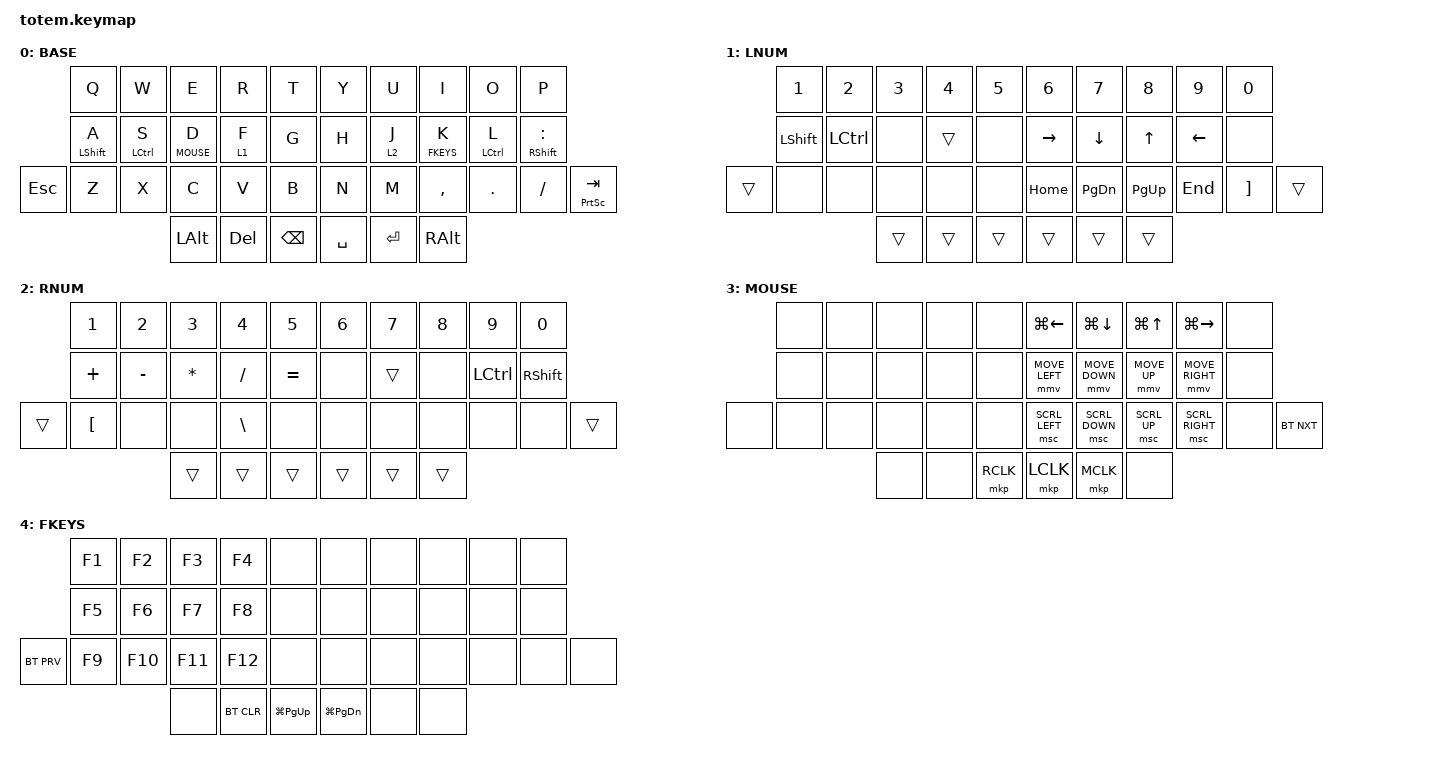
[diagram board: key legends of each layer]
#define ZMK_POINTING_DEFAULT_MOVE_VAL 1000

#include <behaviors.dtsi>
#include <dt-bindings/zmk/bt.h>
#include <dt-bindings/zmk/keys.h>
#include <dt-bindings/zmk/pointing.h>

#define BASE  0
#define LNUM  1
#define RNUM  2
#define MOUSE 3
#define FKEYS 4

&mt {
    quick-tap-ms = <100>;
    global-quick-tap;
    flavor = "tap-preferred";
    tapping-term-ms = <200>;
};

&mmv {
    x-input-code = <INPUT_REL_X>;
    y-input-code = <INPUT_REL_Y>;
    time-to-max-speed-ms = <500>;
    acceleration-exponent = <1>;
};

&msc {
    x-input-code = <INPUT_REL_HWHEEL>;
    y-input-code = <INPUT_REL_WHEEL>;
    time-to-max-speed-ms = <300>;
    acceleration-exponent = <0>;
};

/ {
    keymap {
        compatible = "zmk,keymap";

        base_layer {
            label = "BASE";

            //                     ┏━━━━━━━━━━━━━┳━━━━━━━━━━━━━┳━━━━━━━━━━━━━┳━━━━━━━━━━━━━┳━━━━━━━━━━━━━┓   ┏━━━━━━━━━━━━━┳━━━━━━━━━━━━━┳━━━━━━━━━━━━━┳━━━━━━━━━━━━━┳━━━━━━━━━━━━━┓
            //                     ┃      Q      ┃      W      ┃      E      ┃      R      ┃      T      ┃   ┃      Y      ┃      U      ┃      I      ┃      O      ┃      P      ┃
            //                     ┣━━━━━━━━━━━━━╋━━━━━━━━━━━━━╋━━━━━━━━━━━━━╋━━━━━━━━━━━━━╋━━━━━━━━━━━━━┫   ┣━━━━━━━━━━━━━╋━━━━━━━━━━━━━╋━━━━━━━━━━━━━╋━━━━━━━━━━━━━╋━━━━━━━━━━━━━┫
            //                     ┃      A      ┃      S      ┃      D      ┃      F      ┃      G      ┃   ┃      H      ┃      J      ┃      K      ┃      L      ┃      :      ┃
            //       ┏━━━━━━━━━━━━━╋━━━━━━━━━━━━━╋━━━━━━━━━━━━━╋━━━━━━━━━━━━━╋━━━━━━━━━━━━━╋━━━━━━━━━━━━━┫   ┣━━━━━━━━━━━━━╋━━━━━━━━━━━━━╋━━━━━━━━━━━━━╋━━━━━━━━━━━━━╋━━━━━━━━━━━━━╋━━━━━━━━━━━━━┓
            //       ┃     ESC     ┃      Z      ┃      X      ┃      C      ┃      V      ┃      B      ┃   ┃      N      ┃      M      ┃      ,      ┃      .      ┃      /      ┃     TAB     ┃
            //       ┗━━━━━━━━━━━━━┻━━━━━━━━━━━━━┻━━━━━━━━━━━━━╋━━━━━━━━━━━━━╋━━━━━━━━━━━━━╋━━━━━━━━━━━━━┫   ┣━━━━━━━━━━━━━╋━━━━━━━━━━━━━╋━━━━━━━━━━━━━╋━━━━━━━━━━━━━┻━━━━━━━━━━━━━┻━━━━━━━━━━━━━┛
            //                                                 ┃    LALT     ┃     DEL     ┃    BSPC     ┃   ┃    SPACE    ┃    ENTER    ┃    BSPC     ┃
            //                                                 ┗━━━━━━━━━━━━━┻━━━━━━━━━━━━━┻━━━━━━━━━━━━━┛   ┗━━━━━━━━━━━━━┻━━━━━━━━━━━━━┻━━━━━━━━━━━━━┛

            bindings = <
         &kp Q        &kp W        &kp E        &kp R    &kp T       &kp Y      &kp U      &kp I        &kp O        &kp P
         &mt LSHFT A  &mt LCTRL S  &lt MOUSE D  &lt 1 F  &kp G       &kp H      &lt 2 J    &lt FKEYS K  &mt LCTRL L  &mt RSHIFT COLON
&kp ESC  &kp Z        &kp X        &kp C        &kp V    &kp B       &kp N      &kp M      &kp COMMA    &kp DOT      &kp FSLH          &mt PSCRN TAB
                                   &kp LALT     &kp DEL  &kp BSPC    &kp SPACE  &kp ENTER  &kp RALT
            >;
        };

        //        bindings = <
        //            &kp Q  &kp W  &kp E     &kp R  &kp T    &kp Y      &kp U            &kp I          &kp O    &kp P
        //            &kp A  &kp S  &kp D     &kp F  &kp G    &kp H      &kp J            &kp K          &kp L    &kp SEMI
        //  &kp LCTRL  &kp Z  &kp X  &kp C     &kp V  &kp B    &kp N      &kp M            &kp COMMA      &kp DOT  &kp FSLH  &kp APOS
        //                          &kp LGUI  &mo 2  &mo 1    &kp SPACE  &kp RIGHT_SHIFT  &kp RIGHT_ALT
        //        >;

        lnum_layer {
            label = "LNUM";

            //                     ┏━━━━━━━━━━━━━┳━━━━━━━━━━━━━┳━━━━━━━━━━━━━┳━━━━━━━━━━━━━┳━━━━━━━━━━━━━┓   ┏━━━━━━━━━━━━━┳━━━━━━━━━━━━━┳━━━━━━━━━━━━━┳━━━━━━━━━━━━━┳━━━━━━━━━━━━━┓
            //                     ┃      1      ┃      2      ┃      3      ┃      4      ┃      5      ┃   ┃      6      ┃      7      ┃      8      ┃      9      ┃      0      ┃
            //                     ┣━━━━━━━━━━━━━╋━━━━━━━━━━━━━╋━━━━━━━━━━━━━╋━━━━━━━━━━━━━╋━━━━━━━━━━━━━┫   ┣━━━━━━━━━━━━━╋━━━━━━━━━━━━━╋━━━━━━━━━━━━━╋━━━━━━━━━━━━━╋━━━━━━━━━━━━━┫
            //                     ┃      +      ┃      -      ┃      *      ┃      /      ┃      =      ┃   ┃    RIGHT    ┃    DOWN     ┃      UP     ┃     LEFT    ┃             ┃
            //       ┏━━━━━━━━━━━━━╋━━━━━━━━━━━━━╋━━━━━━━━━━━━━╋━━━━━━━━━━━━━╋━━━━━━━━━━━━━╋━━━━━━━━━━━━━┫   ┣━━━━━━━━━━━━━╋━━━━━━━━━━━━━╋━━━━━━━━━━━━━╋━━━━━━━━━━━━━╋━━━━━━━━━━━━━╋━━━━━━━━━━━━━┓
            //       ┃             ┃      [      ┃             ┃             ┃      \      ┃             ┃   ┃    HOME     ┃    PG_DN    ┃    PG_UP    ┃     END     ┃      ]      ┃             ┃
            //       ┗━━━━━━━━━━━━━┻━━━━━━━━━━━━━┻━━━━━━━━━━━━━╋━━━━━━━━━━━━━╋━━━━━━━━━━━━━╋━━━━━━━━━━━━━┫   ┣━━━━━━━━━━━━━╋━━━━━━━━━━━━━╋━━━━━━━━━━━━━╋━━━━━━━━━━━━━┻━━━━━━━━━━━━━┻━━━━━━━━━━━━━┛
            //                                                 ┃    LALT     ┃     DEL     ┃    BSPC     ┃   ┃    SPACE    ┃    ENTER    ┃     RALT    ┃
            //                                                 ┗━━━━━━━━━━━━━┻━━━━━━━━━━━━━┻━━━━━━━━━━━━━┛   ┗━━━━━━━━━━━━━┻━━━━━━━━━━━━━┻━━━━━━━━━━━━━┛

            bindings = <
        &kp N1     &kp N2     &kp N3  &kp N4  &kp N5    &kp N6     &kp N7     &kp N8     &kp N9    &kp N0
        &kp LSHFT  &kp LCTRL  &none   &trans  &none     &kp RIGHT  &kp DOWN   &kp UP     &kp LEFT  &none
&trans  &none      &none      &none   &none   &none     &kp HOME   &kp PG_DN  &kp PG_UP  &kp END   &kp RBKT  &trans
                              &trans  &trans  &trans    &trans     &trans     &trans
            >;
        };

        //        bindings = <
        //                     &kp LA(BACKSPACE)   &kp BACKSPACE  &kp UP     &kp DELETE     &kp LA(DELETE)        &kp N5      &kp N6           &kp N7       &kp N8    &kp N9
        //                     &kp LA(LEFT_ARROW)  &kp LEFT       &kp DOWN   &kp RIGHT      &kp LA(RIGHT)         &kp N0      &kp N1           &kp N2       &kp N3    &kp N4
        //  &kp LG(BACKSPACE)  &kp LG(UP_ARROW)    &kp LG(LEFT)   &kp ENTER  &kp LG(RIGHT)  &kp LG(DOWN_ARROW)    &kp PERIOD  &kp PLUS         &kp MINUS    &kp STAR  &kp FSLH  &kp CARET
        //                                                        &trans     &trans         &trans                &kp EQUAL   &kp RIGHT_SHIFT  &kp PERCENT
        //        >;

        rnum_layer {
            label = "RNUM";

            //                     ┏━━━━━━━━━━━━━┳━━━━━━━━━━━━━┳━━━━━━━━━━━━━┳━━━━━━━━━━━━━┳━━━━━━━━━━━━━┓   ┏━━━━━━━━━━━━━┳━━━━━━━━━━━━━┳━━━━━━━━━━━━━┳━━━━━━━━━━━━━┳━━━━━━━━━━━━━┓
            //                     ┃      1      ┃      2      ┃      3      ┃      4      ┃      5      ┃   ┃      6      ┃      7      ┃      8      ┃      9      ┃      0      ┃
            //                     ┣━━━━━━━━━━━━━╋━━━━━━━━━━━━━╋━━━━━━━━━━━━━╋━━━━━━━━━━━━━╋━━━━━━━━━━━━━┫   ┣━━━━━━━━━━━━━╋━━━━━━━━━━━━━╋━━━━━━━━━━━━━╋━━━━━━━━━━━━━╋━━━━━━━━━━━━━┫
            //                     ┃      +      ┃      -      ┃      *      ┃      /      ┃      =      ┃   ┃    RIGHT    ┃    DOWN     ┃      UP     ┃     LEFT    ┃             ┃
            //       ┏━━━━━━━━━━━━━╋━━━━━━━━━━━━━╋━━━━━━━━━━━━━╋━━━━━━━━━━━━━╋━━━━━━━━━━━━━╋━━━━━━━━━━━━━┫   ┣━━━━━━━━━━━━━╋━━━━━━━━━━━━━╋━━━━━━━━━━━━━╋━━━━━━━━━━━━━╋━━━━━━━━━━━━━╋━━━━━━━━━━━━━┓
            //       ┃             ┃      [      ┃             ┃             ┃      \      ┃             ┃   ┃    HOME     ┃    PG_DN    ┃    PG_UP    ┃     END     ┃      ]      ┃             ┃
            //       ┗━━━━━━━━━━━━━┻━━━━━━━━━━━━━┻━━━━━━━━━━━━━╋━━━━━━━━━━━━━╋━━━━━━━━━━━━━╋━━━━━━━━━━━━━┫   ┣━━━━━━━━━━━━━╋━━━━━━━━━━━━━╋━━━━━━━━━━━━━╋━━━━━━━━━━━━━┻━━━━━━━━━━━━━┻━━━━━━━━━━━━━┛
            //                                                 ┃    LALT     ┃     DEL     ┃    BSPC     ┃   ┃    SPACE    ┃    ENTER    ┃     RALT    ┃
            //                                                 ┗━━━━━━━━━━━━━┻━━━━━━━━━━━━━┻━━━━━━━━━━━━━┛   ┗━━━━━━━━━━━━━┻━━━━━━━━━━━━━┻━━━━━━━━━━━━━┛

            bindings = <
        &kp N1    &kp N2     &kp N3    &kp N4    &kp N5       &kp N6  &kp N7  &kp N8  &kp N9     &kp N0
        &kp PLUS  &kp MINUS  &kp STAR  &kp FSLH  &kp EQUAL    &none   &trans  &none   &kp LCTRL  &kp RSHIFT
&trans  &kp LBKT  &none      &none     &kp BSLH  &none        &none   &none   &none   &none      &none       &trans
                             &trans    &trans    &trans       &trans  &trans  &trans
            >;
        };

        //        bindings = <
        //             &kp ESC        &kp LEFT_BRACE        &kp RIGHT_BRACE        &none             &none             &kp F1   &kp F2           &kp F3   &kp F4   &kp F5
        //             &kp TAB        &kp LBKT              &kp RBKT               &kp ENTER         &kp BSLH          &kp F6   &kp F7           &kp F8   &kp F9   &kp F10
        //  &kp GRAVE  &kp LESS_THAN  &kp LEFT_PARENTHESIS  &kp RIGHT_PARENTHESIS  &kp GREATER_THAN  &kp UNDERSCORE    &kp F11  &kp F12          &kp F13  &kp F14  &kp F15  &kp F16
        //                                                  &trans                 &trans            &trans            &none    &kp RIGHT_SHIFT  &none
        //        >;

        mouse_layer {
            label = "MOUSE";

            //                     ┏━━━━━━━━━━━━━┳━━━━━━━━━━━━━┳━━━━━━━━━━━━━┳━━━━━━━━━━━━━┳━━━━━━━━━━━━━┓   ┏━━━━━━━━━━━━━┳━━━━━━━━━━━━━┳━━━━━━━━━━━━━┳━━━━━━━━━━━━━┳━━━━━━━━━━━━━┓
            //                     ┃             ┃             ┃             ┃             ┃             ┃   ┃             ┃             ┃             ┃             ┃             ┃
            //                     ┣━━━━━━━━━━━━━╋━━━━━━━━━━━━━╋━━━━━━━━━━━━━╋━━━━━━━━━━━━━╋━━━━━━━━━━━━━┫   ┣━━━━━━━━━━━━━╋━━━━━━━━━━━━━╋━━━━━━━━━━━━━╋━━━━━━━━━━━━━╋━━━━━━━━━━━━━┫
            //                     ┃             ┃             ┃             ┃             ┃             ┃   ┃  MOVE_LEFT  ┃  MOVE_DOWN  ┃   MOVE_UP   ┃  MOVE_RIGHT ┃             ┃
            //       ┏━━━━━━━━━━━━━╋━━━━━━━━━━━━━╋━━━━━━━━━━━━━╋━━━━━━━━━━━━━╋━━━━━━━━━━━━━╋━━━━━━━━━━━━━┫   ┣━━━━━━━━━━━━━╋━━━━━━━━━━━━━╋━━━━━━━━━━━━━╋━━━━━━━━━━━━━╋━━━━━━━━━━━━━╋━━━━━━━━━━━━━┓
            //       ┃             ┃             ┃             ┃             ┃             ┃             ┃   ┃  SCRL_LEFT  ┃  SCRL_DOWN  ┃   SCRL_UP   ┃  SCRL_RIGHT ┃             ┃   BT_NXT    ┃
            //       ┗━━━━━━━━━━━━━┻━━━━━━━━━━━━━┻━━━━━━━━━━━━━╋━━━━━━━━━━━━━╋━━━━━━━━━━━━━╋━━━━━━━━━━━━━┫   ┣━━━━━━━━━━━━━╋━━━━━━━━━━━━━╋━━━━━━━━━━━━━╋━━━━━━━━━━━━━┻━━━━━━━━━━━━━┻━━━━━━━━━━━━━┛
            //                                                 ┃             ┃             ┃    LCLK     ┃   ┃    RCLK     ┃    MCLK     ┃             ┃
            //                                                 ┗━━━━━━━━━━━━━┻━━━━━━━━━━━━━┻━━━━━━━━━━━━━┛   ┗━━━━━━━━━━━━━┻━━━━━━━━━━━━━┻━━━━━━━━━━━━━┛

            bindings = <
                                    &none         &none         &none         &none         &none             &kp LG(LEFT)   &kp LG(DOWN)   &kp LG(UP)   &kp LG(RIGHT)   &none
                                    &none         &none         &none         &none         &none             &mmv MOVE_LEFT &mmv MOVE_DOWN &mmv MOVE_UP &mmv MOVE_RIGHT &none
                      &none         &none         &none         &none         &none         &none             &msc SCRL_LEFT &msc SCRL_DOWN &msc SCRL_UP &msc SCRL_RIGHT &none      &bt BT_NXT
                                                                &none         &none         &mkp RCLK         &mkp LCLK      &mkp MCLK      &none
            >;
        };

        //        bindings = <
        //         &none       &kp C_BRIGHTNESS_DEC  &kp C_BRIGHTNESS_INC  &none             &none    &bt BT_SEL 0  &bt BT_SEL 1  &bt BT_SEL 2  &bt BT_SEL 3  &bt BT_SEL 4
        //         &kp K_MUTE  &kp C_VOLUME_DOWN     &kp C_VOLUME_UP       &kp C_PLAY_PAUSE  &none    &none         &none         &none         &none         &none
        //  &none  &none       &none                 &none                 &none             &none    &none         &none         &none         &none         &none         &bt BT_CLR
        //                                           &none                 &none             &none    &none         &none         &none
        //        >;

        fkeys_layer {
            label = "FKEYS";

            //                     ┏━━━━━━━━━━━━━┳━━━━━━━━━━━━━┳━━━━━━━━━━━━━┳━━━━━━━━━━━━━┳━━━━━━━━━━━━━┓   ┏━━━━━━━━━━━━━┳━━━━━━━━━━━━━┳━━━━━━━━━━━━━┳━━━━━━━━━━━━━┳━━━━━━━━━━━━━┓
            //                     ┃     F1      ┃     F2      ┃     F3      ┃     F4      ┃             ┃   ┃             ┃             ┃             ┃             ┃             ┃
            //                     ┣━━━━━━━━━━━━━╋━━━━━━━━━━━━━╋━━━━━━━━━━━━━╋━━━━━━━━━━━━━╋━━━━━━━━━━━━━┫   ┣━━━━━━━━━━━━━╋━━━━━━━━━━━━━╋━━━━━━━━━━━━━╋━━━━━━━━━━━━━╋━━━━━━━━━━━━━┫
            //                     ┃     F5      ┃     F6      ┃     F7      ┃     F8      ┃             ┃   ┃             ┃             ┃             ┃             ┃             ┃
            //       ┏━━━━━━━━━━━━━╋━━━━━━━━━━━━━╋━━━━━━━━━━━━━╋━━━━━━━━━━━━━╋━━━━━━━━━━━━━╋━━━━━━━━━━━━━┫   ┣━━━━━━━━━━━━━╋━━━━━━━━━━━━━╋━━━━━━━━━━━━━╋━━━━━━━━━━━━━╋━━━━━━━━━━━━━╋━━━━━━━━━━━━━┓
            //       ┃   BT_PREV   ┃     F9      ┃     F10     ┃     F11     ┃     F12     ┃             ┃   ┃             ┃             ┃             ┃             ┃             ┃             ┃
            //       ┗━━━━━━━━━━━━━┻━━━━━━━━━━━━━┻━━━━━━━━━━━━━╋━━━━━━━━━━━━━╋━━━━━━━━━━━━━╋━━━━━━━━━━━━━┫   ┣━━━━━━━━━━━━━╋━━━━━━━━━━━━━╋━━━━━━━━━━━━━╋━━━━━━━━━━━━━┻━━━━━━━━━━━━━┻━━━━━━━━━━━━━┛
            //                                                 ┃             ┃   BT_CLR    ┃             ┃   ┃             ┃             ┃             ┃
            //                                                 ┗━━━━━━━━━━━━━┻━━━━━━━━━━━━━┻━━━━━━━━━━━━━┛   ┗━━━━━━━━━━━━━┻━━━━━━━━━━━━━┻━━━━━━━━━━━━━┛

            bindings = <
                                    &kp F1        &kp F2        &kp F3        &kp F4      &none              &none             &none  &none  &none  &none
                                    &kp F5        &kp F6        &kp F7        &kp F8      &none              &none             &none  &none  &none  &none
                      &bt BT_PRV    &kp F9        &kp F10       &kp F11       &kp F12     &none              &none             &none  &none  &none  &none  &none
                                                                &none         &bt BT_CLR  &kp LG(PAGE_UP)    &kp LG(PAGE_DOWN)  &none  &none
            >;
        };
    };
};
